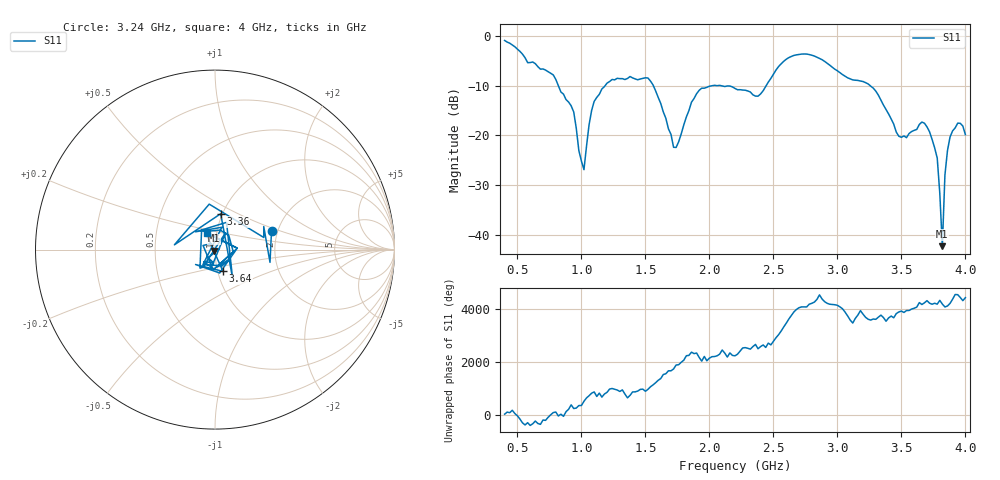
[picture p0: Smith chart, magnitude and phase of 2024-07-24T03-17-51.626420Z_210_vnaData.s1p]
!Created with skrf (http://scikit-rf.org).
# Hz S RI R 50.0
!freq ReS11 ImS11
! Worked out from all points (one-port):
!   181 points, 400 MHz to 4 GHz, reference 50 ohm
!   lowest |S11| = -42.3 dB at 3.82 GHz (marker M1), VSWR 1.02, Z = 49.5 - j0.602 ohm
!   |S11| at or under -10 dB: 820.1 MHz to 1.184 GHz (363.8 MHz wide, 36.3 % of centre); 1.563 GHz to 2.013 GHz (450.3 MHz wide, 25.2 % of centre); 3.258 GHz to end of sweep (the widest 3 of 4)
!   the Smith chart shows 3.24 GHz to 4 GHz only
!   S11 on the Smith chart (normalised r, x): 3.24 GHz: 1.85, +0.43; 3.36 GHz: 0.98, +0.41; 3.64 GHz: 1.06, -0.26; 4 GHz: 0.90, +0.16
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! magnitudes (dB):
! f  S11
! 400 MHz  -0.8
! 780 MHz  -7.8
! 860 MHz  -11.7
! 940 MHz  -15.3
! 1.02 GHz  -26.9
! 1.06 GHz  -17.8
! 1.1 GHz  -13.1
! 1.3 GHz  -8.5
! 1.52 GHz  -8.4
! 1.72 GHz  -22.4
! 1.76 GHz  -21.3
! 1.92 GHz  -10.9
! 2.2 GHz  -10.5
! 2.38 GHz  -12.1
! 2.66 GHz  -3.9
! 3.1 GHz  -8.6
! 3.24 GHz  -9.6
! 3.36 GHz  -13.9
! 3.48 GHz  -20.2
! 3.56 GHz  -19.6
! 3.64 GHz  -17.8
! 3.7 GHz  -18.3
! 3.78 GHz  -24.6
! 3.82 GHz  -42.3
! 3.84 GHz  -28.0
! 3.88 GHz  -20.3
! 3.94 GHz  -17.5
! 4 GHz  -19.8
